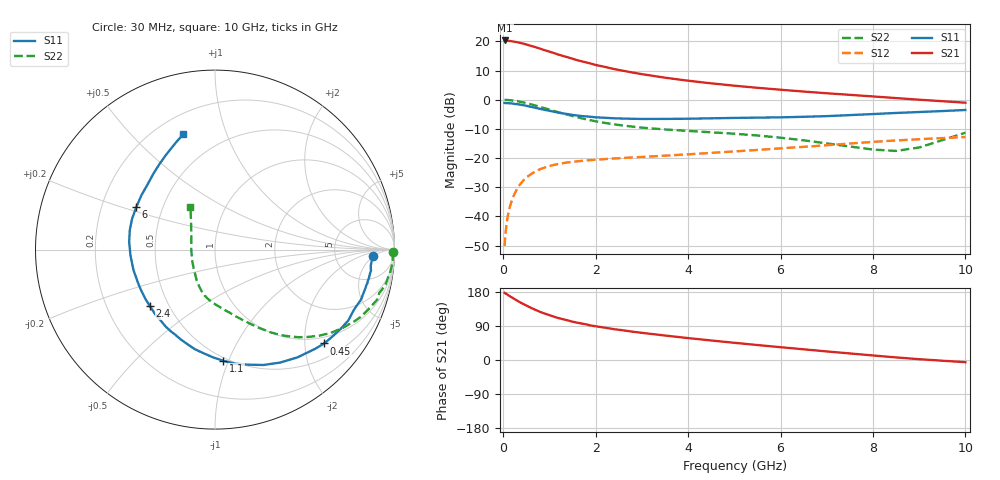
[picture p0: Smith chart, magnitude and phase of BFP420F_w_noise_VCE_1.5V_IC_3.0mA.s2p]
! Infineon Technologies  Discrete & RF Semiconductors
! BFP420F
! VCE =  1.5 V,  IC =  3.0 mA
! Common Emitter S-Parameters:  Sep 2011
# GHz  S  MA  R  50
!  f  S11  S21  S12  S22
! GHz  MAG  ANG  MAG  ANG  MAG  ANG  MAG  ANG
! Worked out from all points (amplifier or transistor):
!   54 points, 30 MHz to 10 GHz, reference 50 ohm
!   highest |S21| = 20.3 dB at 40 MHz (marker M1)
!   |S21| within 3 dB of that: start of sweep to 835.7 MHz
!   unconditionally stable (mu >= 1): 2.372 GHz to end of sweep
!   at 120 MHz: K = 0.06, MSG = 29.2 dB, |S12| = -38.1 dB
!   at 1.3 GHz: K = 0.54, MSG = 18.3 dB, |S12| = -21.7 dB
!   at 10 GHz: K = 1.51, MAG = 1.7 dB, |S12| = -12.8 dB
!   lowest NFmin = 0.85 dB at 450 MHz
!   S11 on the Smith chart (normalised r, x): 30 MHz: 14, -5; 450 MHz: 0.83, -2.45; 1.1 GHz: 0.47, -0.96; 2.4 GHz: 0.39, -0.32; 6 GHz: 0.35, +0.22; 10 GHz: 0.31, +0.72
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0.03  0.8792 -2.4  10.33 177.2  0.0031 89.5  0.9893 -0.8
0.04  0.8773 -3.3  10.34 176.3  0.0041 88.4  0.9923 -1.3
0.12  0.8693 -11.5  10.23 169.9  0.0124 83.9  0.9844 -7.1
0.25  0.8438 -23.3  9.81 160.3  0.0248 76.7  0.9466 -14.8
0.35  0.8276 -32.3  9.468 153.4  0.0342 71.8  0.9265 -19.9
0.45  0.8022 -40.7  9.056 146.8  0.0425 67.4  0.8925 -25.0
0.6  0.7559 -52.6  8.348 137.6  0.0531 61.0  0.8321 -31.8
0.7  0.7267 -60.0  7.936 132.2  0.0594 57.3  0.793 -35.9
0.9  0.6685 -73.6  7.034 122.4  0.0691 51.1  0.7132 -43.0
1.1  0.6214 -85.7  6.284 114.2  0.0765 46.1  0.6407 -49.1
1.2  0.5993 -91.3  5.903 110.5  0.0794 44.2  0.6089 -51.7
1.5  0.5488 -106.3  5.028 101.0  0.0863 39.5  0.5253 -58.4
1.7  0.524 -114.8  4.537 96.2  0.0896 37.2  0.4796 -62.4
1.9  0.5089 -122.9  4.147 91.0  0.0926 35.5  0.443 -66.0
2.4  0.4799 -139.2  3.346 81.3  0.0985 32.7  0.3787 -74.3
3.5  0.4684 -166.0  2.382 64.6  0.11 31.2  0.3094 -88.4
4.5  0.4801 175.0  1.906 51.5  0.1228 31.0  0.2766 -98.4
5.5  0.493 159.4  1.599 39.5  0.138 30.5  0.2438 -107.7
6  0.4985 151.6  1.482 33.8  0.1467 30.1  0.2234 -113.1
7  0.5229 135.8  1.289 22.6  0.1658 28.4  0.1785 -127.9
8.5  0.5924 117.7  1.066 6.8  0.2003 23.0  0.1326 177.3
10  0.6668 105.3  0.888 -5.8  0.2295 16.0  0.2718 120.2
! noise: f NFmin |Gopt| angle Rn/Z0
0.45  0.85  0.4  15  0.19
0.9  0.9  0.38  35  0.21
1.9  1.14  0.29  89  0.16
2.4  1.25  0.29  101  0.16
3.5  1.61  0.32  139  0.17
